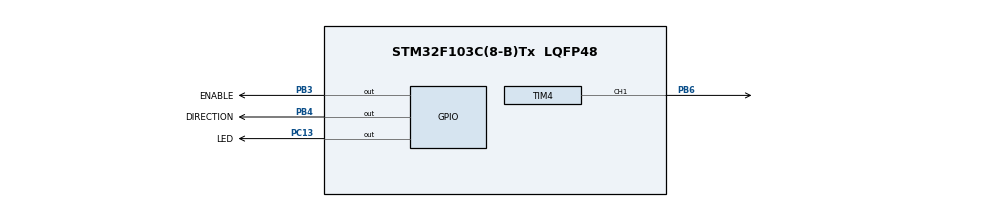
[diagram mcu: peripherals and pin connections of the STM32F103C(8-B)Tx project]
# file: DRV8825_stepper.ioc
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Mcu.Family=STM32F1
Mcu.Name=STM32F103C(8-B)Tx
Mcu.Package=LQFP48
NVIC.PriorityGroup=NVIC_PRIORITYGROUP_4
NVIC.TIM3_IRQn=true\:0\:0\:false\:false\:true\:true\:true\:true
PA13.Mode=Serial_Wire
PA13.Signal=SYS_JTMS-SWDIO
PA14.Mode=Serial_Wire
PA14.Signal=SYS_JTCK-SWCLK
PB3.GPIO_Label=ENABLE
PB3.Signal=GPIO_Output
PB4.GPIO_Label=DIRECTION
PB4.Signal=GPIO_Output
PB6.Signal=S_TIM4_CH1
PC13-TAMPER-RTC.GPIO_Label=LED
PC13-TAMPER-RTC.Signal=GPIO_Output
PD0-OSC_IN.Mode=HSE-External-Oscillator
PD0-OSC_IN.Signal=RCC_OSC_IN
PD1-OSC_OUT.Mode=HSE-External-Oscillator
PD1-OSC_OUT.Signal=RCC_OSC_OUT
ProjectManager.HeapSize=0x200
ProjectManager.StackSize=0x400
ProjectManager.TargetToolchain=STM32CubeIDE
RCC.APB1Freq_Value=8000000
RCC.APB2Freq_Value=8000000
RCC.SYSCLKSource=RCC_SYSCLKSOURCE_HSE
SH.S_TIM4_CH1.0=TIM4_CH1,Output Compare1 CH1
TIM3.Period=10000-1
TIM3.Prescaler=8000-1
TIM3.TIM_MasterOutputTrigger=TIM_TRGO_RESET
TIM4.AutoReloadPreload=TIM_AUTORELOAD_PRELOAD_ENABLE
TIM4.Channel-Output\ Compare1\ CH1=TIM_CHANNEL_1
TIM4.OCMode_1=TIM_OCMODE_TOGGLE
TIM4.Period=20-1
TIM4.Prescaler=1000-1
TIM4.Pulse-Output\ Compare1\ CH1=0
VP_TIM3_VS_ClockSourceINT.Mode=Internal
board=custom

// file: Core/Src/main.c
/* USER CODE BEGIN Header */
/**
  ******************************************************************************
  * @file           : main.c
  * @brief          : Main program body
  ******************************************************************************
  * @attention
  *
  * Copyright (c) 2023 STMicroelectronics.
  * All rights reserved.
  *
  * This software is licensed under terms that can be found in the LICENSE file
  * in the root directory of this software component.
  * If no LICENSE file comes with this software, it is provided AS-IS.
  *
  * This code moves in/out the stepper motor connected to a DRV8825 every 10 seconds
  *
  *
  *
  ******************************************************************************
  */
/* USER CODE END Header */
#include "main.h"

/* USER CODE BEGIN PM */
#define PULSE 20
#define DIVIDER 500
/* USER CODE END PM */

TIM_HandleTypeDef htim3;
TIM_HandleTypeDef htim4;

/* USER CODE BEGIN PV */
uint8_t motorRunning = 0;
//uint8_t pulse = 100;
//uint8_t divider = 500;

/* USER CODE END PV */

void SystemClock_Config(void);
static void MX_GPIO_Init(void);
static void MX_TIM4_Init(void);
static void MX_TIM3_Init(void);

int main(void)
{

  /* MCU Configuration--------------------------------------------------------*/

  /* Reset of all peripherals, Initializes the Flash interface and the Systick. */
  HAL_Init();

  /* Configure the system clock */
  SystemClock_Config();

  /* Initialize all configured peripherals */
  MX_GPIO_Init();
  MX_TIM4_Init();
  MX_TIM3_Init();
  /* USER CODE BEGIN 2 */
  HAL_TIM_OC_Start(&htim4, TIM_CHANNEL_1); // Start STEP signal >> counter toggle to toggle every 20/1000 sec = 50hz
  HAL_GPIO_WritePin(ENABLE_GPIO_Port, ENABLE_Pin, SET); // Active low >> start disabled
  HAL_TIM_Base_Start_IT(&htim3); // start timer for 10 sec w/interrupt

  /* USER CODE END 2 */

  /* Infinite loop */
  /* USER CODE BEGIN WHILE */
  while (1)
  {
	  if(motorRunning == 0){
		  HAL_GPIO_TogglePin(LED_GPIO_Port, LED_Pin);
		  HAL_GPIO_WritePin(ENABLE_GPIO_Port, ENABLE_Pin, SET); // disable driver
		  HAL_Delay(500); // wait for the motor to stop
		  HAL_GPIO_TogglePin(DIRECTION_GPIO_Port, DIRECTION_Pin); // change direction
		  HAL_GPIO_WritePin(ENABLE_GPIO_Port, ENABLE_Pin, RESET); // enable driver
		  //HAL_TIM_Base_Start_IT(&htim3); // start timer for 10 sec w/interrupt

		  motorRunning = 1;
	  }

    /* USER CODE END WHILE */

  }
}

void SystemClock_Config(void)
{
  RCC_OscInitTypeDef RCC_OscInitStruct = {0};
  RCC_ClkInitTypeDef RCC_ClkInitStruct = {0};

  /** Initializes the RCC Oscillators according to the specified parameters
  * in the RCC_OscInitTypeDef structure.
  */
  RCC_OscInitStruct.OscillatorType = RCC_OSCILLATORTYPE_HSE;
  RCC_OscInitStruct.HSEState = RCC_HSE_ON;
  RCC_OscInitStruct.PLL.PLLState = RCC_PLL_NONE;
  if (HAL_RCC_OscConfig(&RCC_OscInitStruct) != HAL_OK)
  {
    Error_Handler();
  }

  /** Initializes the CPU, AHB and APB buses clocks
  */
  RCC_ClkInitStruct.ClockType = RCC_CLOCKTYPE_HCLK|RCC_CLOCKTYPE_SYSCLK
                              |RCC_CLOCKTYPE_PCLK1|RCC_CLOCKTYPE_PCLK2;
  RCC_ClkInitStruct.SYSCLKSource = RCC_SYSCLKSOURCE_HSE;
  RCC_ClkInitStruct.AHBCLKDivider = RCC_SYSCLK_DIV1;
  RCC_ClkInitStruct.APB1CLKDivider = RCC_HCLK_DIV1;
  RCC_ClkInitStruct.APB2CLKDivider = RCC_HCLK_DIV1;

  if (HAL_RCC_ClockConfig(&RCC_ClkInitStruct, FLASH_LATENCY_0) != HAL_OK)
  {
    Error_Handler();
  }
}

static void MX_TIM3_Init(void)
{

  TIM_ClockConfigTypeDef sClockSourceConfig = {0};
  TIM_MasterConfigTypeDef sMasterConfig = {0};

  htim3.Instance = TIM3;
  htim3.Init.Prescaler = 8000-1;
  htim3.Init.CounterMode = TIM_COUNTERMODE_UP;
  htim3.Init.Period = 10000-1;
  htim3.Init.ClockDivision = TIM_CLOCKDIVISION_DIV1;
  htim3.Init.AutoReloadPreload = TIM_AUTORELOAD_PRELOAD_DISABLE;
  if (HAL_TIM_Base_Init(&htim3) != HAL_OK)
  {
    Error_Handler();
  }
  sClockSourceConfig.ClockSource = TIM_CLOCKSOURCE_INTERNAL;
  if (HAL_TIM_ConfigClockSource(&htim3, &sClockSourceConfig) != HAL_OK)
  {
    Error_Handler();
  }
  sMasterConfig.MasterOutputTrigger = TIM_TRGO_RESET;
  sMasterConfig.MasterSlaveMode = TIM_MASTERSLAVEMODE_DISABLE;
  if (HAL_TIMEx_MasterConfigSynchronization(&htim3, &sMasterConfig) != HAL_OK)
  {
    Error_Handler();
  }

}

static void MX_TIM4_Init(void)
{

  TIM_MasterConfigTypeDef sMasterConfig = {0};
  TIM_OC_InitTypeDef sConfigOC = {0};

  htim4.Instance = TIM4;
  htim4.Init.Prescaler = DIVIDER-1;
  htim4.Init.CounterMode = TIM_COUNTERMODE_UP;
  htim4.Init.Period = PULSE-1;
  htim4.Init.ClockDivision = TIM_CLOCKDIVISION_DIV1;
  htim4.Init.AutoReloadPreload = TIM_AUTORELOAD_PRELOAD_ENABLE;
  if (HAL_TIM_OC_Init(&htim4) != HAL_OK)
  {
    Error_Handler();
  }
  sMasterConfig.MasterOutputTrigger = TIM_TRGO_RESET;
  sMasterConfig.MasterSlaveMode = TIM_MASTERSLAVEMODE_DISABLE;
  if (HAL_TIMEx_MasterConfigSynchronization(&htim4, &sMasterConfig) != HAL_OK)
  {
    Error_Handler();
  }
  sConfigOC.OCMode = TIM_OCMODE_TOGGLE;
  sConfigOC.Pulse = 0;
  sConfigOC.OCPolarity = TIM_OCPOLARITY_HIGH;
  sConfigOC.OCFastMode = TIM_OCFAST_DISABLE;
  if (HAL_TIM_OC_ConfigChannel(&htim4, &sConfigOC, TIM_CHANNEL_1) != HAL_OK)
  {
    Error_Handler();
  }
  HAL_TIM_MspPostInit(&htim4);

}

static void MX_GPIO_Init(void)
{
  GPIO_InitTypeDef GPIO_InitStruct = {0};

  /* GPIO Ports Clock Enable */
  __HAL_RCC_GPIOC_CLK_ENABLE();
  __HAL_RCC_GPIOD_CLK_ENABLE();
  __HAL_RCC_GPIOA_CLK_ENABLE();
  __HAL_RCC_GPIOB_CLK_ENABLE();

  /*Configure GPIO pin Output Level */
  HAL_GPIO_WritePin(LED_GPIO_Port, LED_Pin, GPIO_PIN_RESET);

  /*Configure GPIO pin Output Level */
  HAL_GPIO_WritePin(GPIOB, ENABLE_Pin|DIRECTION_Pin, GPIO_PIN_RESET);

  /*Configure GPIO pin : LED_Pin */
  GPIO_InitStruct.Pin = LED_Pin;
  GPIO_InitStruct.Mode = GPIO_MODE_OUTPUT_PP;
  GPIO_InitStruct.Pull = GPIO_NOPULL;
  GPIO_InitStruct.Speed = GPIO_SPEED_FREQ_LOW;
  HAL_GPIO_Init(LED_GPIO_Port, &GPIO_InitStruct);

  /*Configure GPIO pins : ENABLE_Pin DIRECTION_Pin */
  GPIO_InitStruct.Pin = ENABLE_Pin|DIRECTION_Pin;
  GPIO_InitStruct.Mode = GPIO_MODE_OUTPUT_PP;
  GPIO_InitStruct.Pull = GPIO_NOPULL;
  GPIO_InitStruct.Speed = GPIO_SPEED_FREQ_LOW;
  HAL_GPIO_Init(GPIOB, &GPIO_InitStruct);

}

/* USER CODE BEGIN 4 */
void HAL_TIM_PeriodElapsedCallback(TIM_HandleTypeDef *htim){
	if (htim->Instance == TIM3){
		//HAL_TIM_Base_Stop_IT(&htim3); // stop timer until all changes on the motor driver are done
		motorRunning = 0; // stop motor and change direction
	}
}

/* USER CODE END 4 */

void Error_Handler(void)
{
  __disable_irq();
  while (1)
  {
  }
}
